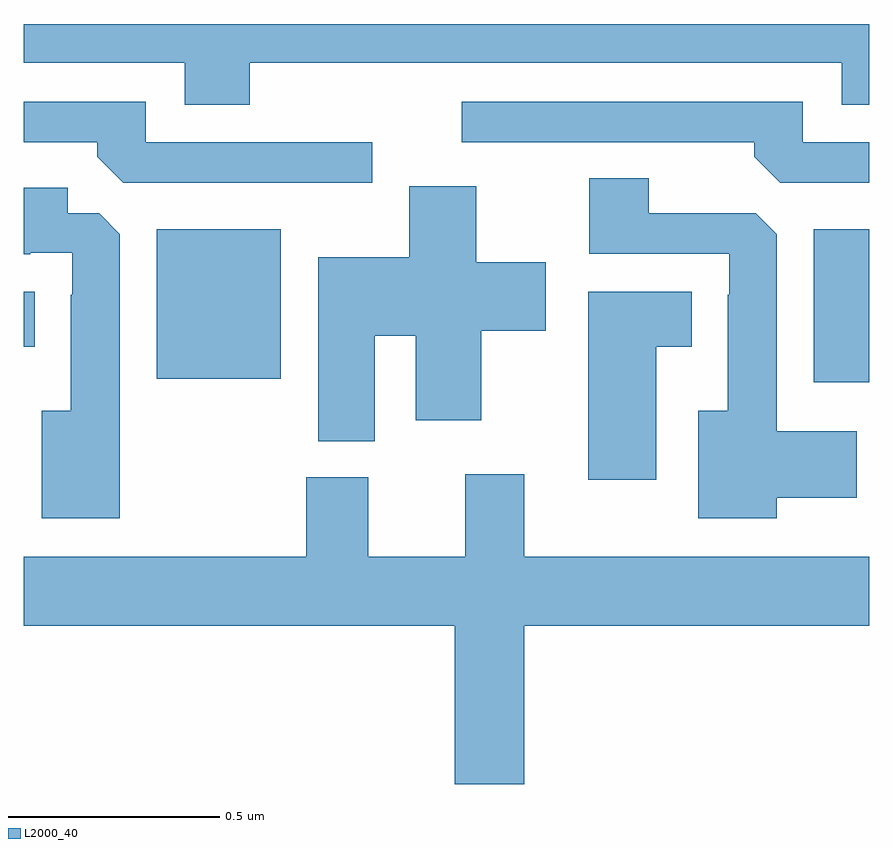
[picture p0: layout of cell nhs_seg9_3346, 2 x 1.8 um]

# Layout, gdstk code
import gdstk
lib = gdstk.Library(unit=1e-6, precision=1e-09)
def R(c, l, rs):  # rectangles x0, y0, x1, y1
    for r in rs: c.add(gdstk.rectangle(r[:2], r[2:], *l))
def P(c, l, *ps):  # polygons
    for p in ps: c.add(gdstk.Polygon(p, *l))
L2000_40 = (2000, 40)

nhs_seg9_3346 = lib.new_cell('nhs_seg9_3346')
R(nhs_seg9_3346, L2000_40, [(153.869,1207.652,154,1208.014), (152.315,1207.661,152.608,1208.014), (152,1207.736,152.026,1207.867)])
P(nhs_seg9_3346, L2000_40, [(152.534,1208.408),(153.935,1208.408),(153.935,1208.309),(154,1208.309),(154,1208.5),(152,1208.5),(152,1208.408),(152.381,1208.408),(152.381,1208.309),(152.534,1208.309)],
  [(154,1208.22),(153.843,1208.22),(153.843,1208.316),(153.036,1208.316),(153.036,1208.22),(153.728,1208.22),(153.728,1208.186),(153.789,1208.124),(154,1208.124)],
  [(152.824,1208.22),(152.289,1208.22),(152.289,1208.316),(152,1208.316),(152,1208.22),(152.174,1208.22),(152.174,1208.186),(152.235,1208.124),(152.824,1208.124)],
  [(153.781,1207.379),(153.97,1207.379),(153.97,1207.537),(153.781,1207.537),(153.781,1208.003),(153.732,1208.052),(153.478,1208.052),(153.478,1208.135),(153.338,1208.135),(153.338,1207.956),(153.669,1207.956),(153.669,1207.859),(153.665,1207.859),(153.665,1207.585),(153.596,1207.585),(153.596,1207.331),(153.781,1207.331)],
  [(152.83,1207.763),(152.927,1207.763),(152.927,1207.563),(153.082,1207.563),(153.082,1207.774),(153.235,1207.774),(153.235,1207.936),(153.07,1207.936),(153.07,1208.116),(152.912,1208.116),(152.912,1207.948),(152.696,1207.948),(152.696,1207.513),(152.83,1207.513)],
  [(152.227,1208.003),(152.178,1208.052),(152.104,1208.052),(152.104,1208.113),(152,1208.113),(152,1207.955),(152.015,1207.955),(152.015,1207.959),(152.115,1207.959),(152.115,1207.859),(152.111,1207.859),(152.111,1207.585),(152.042,1207.585),(152.042,1207.331),(152.227,1207.331)],
  [(153.496,1207.736),(153.58,1207.736),(153.58,1207.867),(153.335,1207.867),(153.335,1207.422),(153.496,1207.422)],
  [(153.184,1207.076),(154,1207.076),(154,1207.24),(153.184,1207.24),(153.184,1207.435),(153.044,1207.435),(153.044,1207.24),(152.815,1207.24),(152.815,1207.428),(152.668,1207.428),(152.668,1207.24),(152,1207.24),(152,1207.076),(153.02,1207.076),(153.02,1206.702),(153.184,1206.702)])

lib.write_gds('nhs_seg9_3346.gds')
